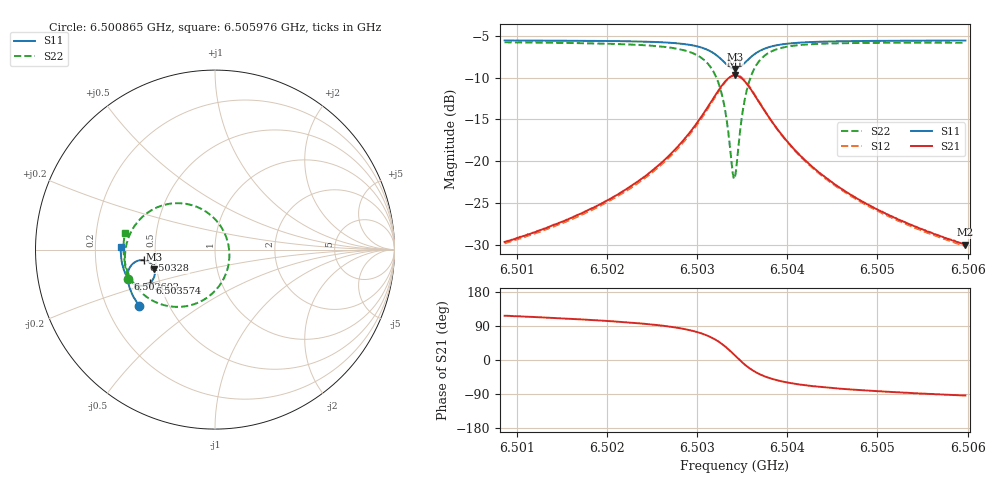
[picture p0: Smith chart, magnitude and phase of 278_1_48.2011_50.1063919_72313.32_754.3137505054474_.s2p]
#  HZ  S  RI  R  50.00
! Rohde & Schwarz Vector Network Analyzer
! Rohde-Schwarz,ZNB20-2Port,1311601062101988,3.16
! Created: UTC 3/20/2024, 11:48:32 AM
! freq[Hz]  re:S11  im:S11  re:S21  im:S21  re:S12  im:S12  re:S22  im:S22
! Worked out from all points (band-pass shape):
!   401 points, 6.500865 GHz to 6.505976 GHz, reference 50 ohm
!   highest |S21| = -9.74 dB at 6.50342 GHz (marker M1); lowest = -29.9 dB at 6.505976 GHz (marker M2)
!   |S21| within 3 dB of the highest: 6.503164 GHz to 6.503676 GHz (511.4 kHz wide, 0.00786 % of centre)
!   lowest |S11| = -9.0 dB at 6.50342 GHz (marker M3), VSWR 2.10, Z = 24.2 - j6.02 ohm
!   |S11| at or under -10 dB: nowhere
!   |S22| runs from -22.1 to -5.8 dB; largest |S21 - S12| = 0.011
!   S11 on the Smith chart (normalised r, x): 6.500865 GHz: 0.34, -0.30; 6.502602 GHz: 0.33, -0.15; 6.50328 GHz: 0.43, -0.06; 6.503574 GHz: 0.44, -0.20; 6.505976 GHz: 0.31, +0.01
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6.5008647e9  -0.4224 -0.3143  -0.0149 0.0295  -0.0132 0.0296  -0.4873 -0.1618
6.5017208e9  -0.4597 -0.2519  -0.0144 0.0468  -0.0121 0.0465  -0.5019 -0.0721
6.5022191e9  -0.4775 -0.2079  -0.0113 0.0676  -0.00823 0.0663  -0.4991 -0.00184
6.5025769e9  -0.4859 -0.1687  -0.0027 0.0952  0.000774 0.0929  -0.4809 0.0691
6.5026024e9  -0.4864 -0.1655  -0.00158 0.0978  0.00194 0.0955  -0.4784 0.0752
6.5028452e9  -0.485 -0.1298  0.0177 0.1317  0.0214 0.1279  -0.4379 0.1458
6.5030241e9  -0.4723 -0.0961  0.0549 0.1684  0.0579 0.1631  -0.3652 0.2125
6.5031774e9  -0.4391 -0.0659  0.1285 0.1988  0.1295 0.1924  -0.2301 0.2579
6.5032797e9  -0.3964 -0.0591  0.2136 0.1895  0.2138 0.1844  -0.0819 0.2297
6.5033308e9  -0.3711 -0.0679  0.2618 0.1615  0.2626 0.1571  -0.00201 0.1721
6.5033947e9  -0.3446 -0.0942  0.309 0.0982  0.3114 0.0934  0.0689 0.0503
6.5034202e9  -0.3384 -0.1086  0.319 0.0662  0.3221 0.0606  0.0796 -0.00948
6.5034458e9  -0.3354 -0.124  0.3226 0.0331  0.3259 0.0262  0.0777 -0.0701
6.5035097e9  -0.3425 -0.1608  0.3045 -0.0441  0.3064 -0.0539  0.0224 -0.2038
6.5035735e9  -0.3636 -0.1864  0.2621 -0.0978  0.2609 -0.1087  -0.0735 -0.2856
6.5036758e9  -0.4027 -0.2013  0.1881 -0.1336  0.1829 -0.1427  -0.2219 -0.3191
6.5038419e9  -0.4483 -0.1917  0.1073 -0.1305  0.1004 -0.1353  -0.3674 -0.2727
6.5040208e9  -0.4756 -0.1703  0.0634 -0.1106  0.0572 -0.1128  -0.4387 -0.2084
6.5042763e9  -0.4962 -0.1404  0.0335 -0.0867  0.0289 -0.0871  -0.4816 -0.1368
6.5046597e9  -0.5117 -0.1007  0.0147 -0.0638  0.0115 -0.0633  -0.5041 -0.0623
6.5051324e9  -0.5211 -0.0573  0.0049 -0.0473  0.00285 -0.0467  -0.51 0.00352
6.5059758e9  -0.5259 0.0138  -0.00203 -0.0318  -0.00338 -0.031  -0.5017 0.0917
